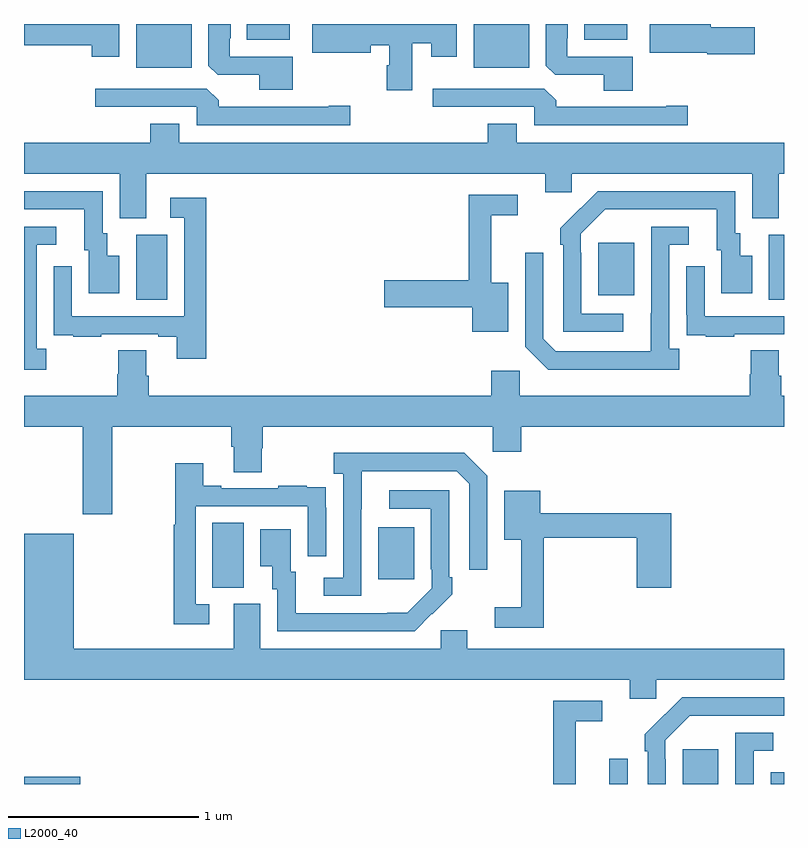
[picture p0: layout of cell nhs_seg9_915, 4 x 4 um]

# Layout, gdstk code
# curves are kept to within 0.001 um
import gdstk
lib = gdstk.Library(unit=1e-6, precision=1e-09)
def R(c, l, rs):  # rectangles x0, y0, x1, y1
    for r in rs: c.add(gdstk.rectangle(r[:2], r[2:], *l))
def P(c, l, *ps):  # polygons
    for p in ps: c.add(gdstk.Polygon(p, *l))
L2000_40 = (2000, 40)

nhs_seg9_915 = lib.new_cell('nhs_seg9_915')
R(nhs_seg9_915, L2000_40, [(159,1234.5,159.295,1234.538), (162.081,1234.5,162.177,1234.633), (162.467,1234.5,162.655,1234.684), (162.93,1234.5,163,1234.561), (159.992,1235.533,160.156,1235.876), (160.865,1235.577,161.053,1235.851), (159.59,1237.048,159.754,1237.392), (162.92,1237.048,163,1237.392), (162.023,1237.073,162.211,1237.348), (159.59,1238.27,159.883,1238.5), (161.366,1238.27,161.659,1238.5), (160.172,1238.417,160.399,1238.5), (161.948,1238.417,162.175,1238.5)])
P(nhs_seg9_915, L2000_40, [(162.203,1238.328),(161.859,1238.328),(161.859,1238.425),(161.863,1238.425),(161.863,1238.5),(161.747,1238.5),(161.747,1238.281),(161.796,1238.232),(162.05,1238.232),(162.05,1238.149),(162.203,1238.149)],
  [(160.414,1238.328),(160.083,1238.328),(160.083,1238.425),(160.087,1238.425),(160.087,1238.5),(159.971,1238.5),(159.971,1238.281),(160.02,1238.232),(160.238,1238.232),(160.238,1238.153),(160.414,1238.153)],
  [(159.502,1238.5),(159,1238.5),(159,1238.387),(159.356,1238.387),(159.356,1238.328),(159.502,1238.328)],
  [(161.044,1238.399),(161.144,1238.399),(161.144,1238.328),(161.278,1238.328),(161.278,1238.5),(160.518,1238.5),(160.518,1238.348),(160.825,1238.348),(160.825,1238.387),(160.922,1238.387),(160.922,1238.283),(160.91,1238.283),(160.91,1238.151),(161.044,1238.151)],
  [(162.847,1238.483),(162.614,1238.483),(162.614,1238.5),(162.294,1238.5),(162.294,1238.348),(162.597,1238.348),(162.597,1238.341),(162.847,1238.341)],
  [(160.717,1238.069),(160.604,1238.069),(160.604,1238.064),(160.025,1238.064),(160.025,1238.098),(159.963,1238.16),(159.375,1238.16),(159.375,1238.064),(159.909,1238.064),(159.909,1237.968),(160.717,1237.968)],
  [(162.493,1238.069),(162.38,1238.069),(162.38,1238.064),(161.801,1238.064),(161.801,1238.098),(161.739,1238.16),(161.151,1238.16),(161.151,1238.064),(161.685,1238.064),(161.685,1237.968),(162.493,1237.968)],
  [(159.643,1237.712),(161.744,1237.712),(161.744,1237.614),(161.883,1237.614),(161.883,1237.712),(162.833,1237.712),(162.833,1237.477),(162.973,1237.477),(162.973,1237.712),(163,1237.712),(163,1237.876),(161.593,1237.876),(161.593,1237.975),(161.441,1237.975),(161.441,1237.876),(159.817,1237.876),(159.817,1237.975),(159.665,1237.975),(159.665,1237.876),(159,1237.876),(159,1237.712),(159.503,1237.712),(159.503,1237.477),(159.643,1237.477)],
  [(159.502,1237.279),(159.439,1237.279),(159.439,1237.398),(159.414,1237.398),(159.414,1237.62),(159,1237.62),(159,1237.524),(159.317,1237.524),(159.317,1237.308),(159.341,1237.308),(159.341,1237.083),(159.502,1237.083)],
  [(162.154,1236.975),(161.934,1236.975),(161.934,1237.295),(161.931,1237.295),(161.931,1237.395),(162.06,1237.524),(162.647,1237.524),(162.647,1237.308),(162.671,1237.308),(162.671,1237.083),(162.832,1237.083),(162.832,1237.279),(162.769,1237.279),(162.769,1237.398),(162.744,1237.398),(162.744,1237.62),(162.02,1237.62),(161.823,1237.425),(161.823,1237.337),(161.838,1237.337),(161.838,1236.879),(162.154,1236.879)],
  [(161.548,1237.138),(161.459,1237.138),(161.459,1237.494),(161.599,1237.494),(161.599,1237.602),(161.341,1237.602),(161.341,1237.151),(160.896,1237.151),(160.896,1237.009),(161.36,1237.009),(161.36,1236.881),(161.548,1236.881)],
  [(159.959,1237.585),(159.771,1237.585),(159.771,1237.479),(159.843,1237.479),(159.843,1236.963),(159.252,1236.963),(159.252,1237.225),(159.156,1237.225),(159.156,1236.97),(159.157,1236.97),(159.157,1236.861),(159.259,1236.861),(159.259,1236.855),(159.407,1236.855),(159.407,1236.867),(159.707,1236.867),(159.707,1236.855),(159.803,1236.855),(159.803,1236.738),(159.959,1236.738)],
  [(162.448,1236.79),(162.396,1236.79),(162.396,1237.338),(162.499,1237.338),(162.499,1237.434),(162.3,1237.434),(162.299,1236.777),(161.799,1236.777),(161.733,1236.843),(161.733,1237.297),(161.637,1237.297),(161.637,1236.801),(161.758,1236.68),(162.448,1236.68)],
  [(159.118,1236.79),(159.066,1236.79),(159.066,1237.338),(159.169,1237.338),(159.169,1237.434),(159,1237.434),(159,1236.68),(159.118,1236.68)],
  [(162.737,1236.867),(163,1236.867),(163,1236.963),(162.582,1236.963),(162.582,1237.225),(162.486,1237.225),(162.486,1236.97),(162.487,1236.97),(162.487,1236.861),(162.589,1236.861),(162.589,1236.855),(162.737,1236.855)],
  [(159.465,1236.38),(160.091,1236.38),(160.091,1236.274),(160.103,1236.274),(160.103,1236.142),(160.251,1236.142),(160.251,1236.267),(160.256,1236.267),(160.256,1236.38),(161.466,1236.38),(161.466,1236.249),(161.618,1236.249),(161.618,1236.38),(163,1236.38),(163,1236.544),(162.986,1236.544),(162.986,1236.65),(162.973,1236.65),(162.973,1236.782),(162.826,1236.782),(162.826,1236.657),(162.821,1236.657),(162.821,1236.544),(161.61,1236.544),(161.61,1236.676),(161.459,1236.676),(161.459,1236.544),(159.656,1236.544),(159.656,1236.65),(159.643,1236.65),(159.643,1236.782),(159.496,1236.782),(159.496,1236.657),(159.491,1236.657),(159.491,1236.544),(159,1236.544),(159,1236.38),(159.31,1236.38),(159.31,1235.919),(159.465,1235.919)],
  [(160.776,1235.947),(160.777,1236.147),(161.277,1236.147),(161.343,1236.081),(161.343,1235.628),(161.439,1235.628),(161.439,1236.123),(161.318,1236.244),(160.629,1236.244),(160.629,1236.134),(160.68,1236.134),(160.68,1235.586),(160.578,1235.586),(160.578,1235.49),(160.776,1235.49)],
  [(159.976,1235.445),(159.903,1235.445),(159.903,1235.961),(160.494,1235.961),(160.494,1235.7),(160.59,1235.7),(160.59,1235.954),(160.589,1235.954),(160.589,1236.063),(160.487,1236.063),(160.487,1236.07),(160.339,1236.07),(160.339,1236.057),(160.039,1236.057),(160.039,1236.07),(159.943,1236.07),(159.943,1236.187),(159.795,1236.187),(159.795,1235.864),(159.787,1235.864),(159.787,1235.34),(159.976,1235.34)],
  [(161.147,1235.395),(161.148,1235.394),(161.253,1235.499),(161.253,1235.587),(161.238,1235.587),(161.238,1236.045),(160.923,1236.045),(160.923,1235.949),(161.142,1235.949),(161.142,1235.629),(161.145,1235.629),(161.145,1235.529),(161.017,1235.401),(160.429,1235.4),(160.429,1235.616),(160.405,1235.616),(160.405,1235.842),(160.244,1235.842),(160.244,1235.645),(160.307,1235.645),(160.307,1235.526),(160.332,1235.526),(160.332,1235.304),(161.056,1235.304)],
  [(161.735,1235.797),(162.224,1235.797),(162.224,1235.532),(162.407,1235.532),(162.407,1235.926),(161.716,1235.926),(161.716,1236.043),(161.528,1236.043),(161.528,1235.786),(161.618,1235.786),(161.618,1235.431),(161.478,1235.431),(161.478,1235.322),(161.735,1235.322)],
  [(162.327,1235.048),(163,1235.048),(163,1235.212),(161.332,1235.212),(161.332,1235.31),(161.193,1235.31),(161.193,1235.212),(160.243,1235.212),(160.243,1235.448),(160.103,1235.448),(160.103,1235.212),(159.262,1235.212),(159.262,1235.818),(159,1235.818),(159,1235.048),(162.188,1235.048),(162.188,1234.95),(162.327,1234.95)],
  [(162.378,1234.631),(162.375,1234.631),(162.375,1234.731),(162.504,1234.86),(163,1234.86),(163,1234.956),(162.464,1234.956),(162.267,1234.761),(162.267,1234.673),(162.282,1234.673),(162.282,1234.5),(162.378,1234.5)],
  [(161.903,1234.83),(162.043,1234.83),(162.043,1234.938),(161.785,1234.938),(161.785,1234.5),(161.903,1234.5)],
  [(162.84,1234.674),(162.943,1234.674),(162.943,1234.77),(162.744,1234.77),(162.744,1234.5),(162.84,1234.5)])

lib.write_gds('nhs_seg9_915.gds')
